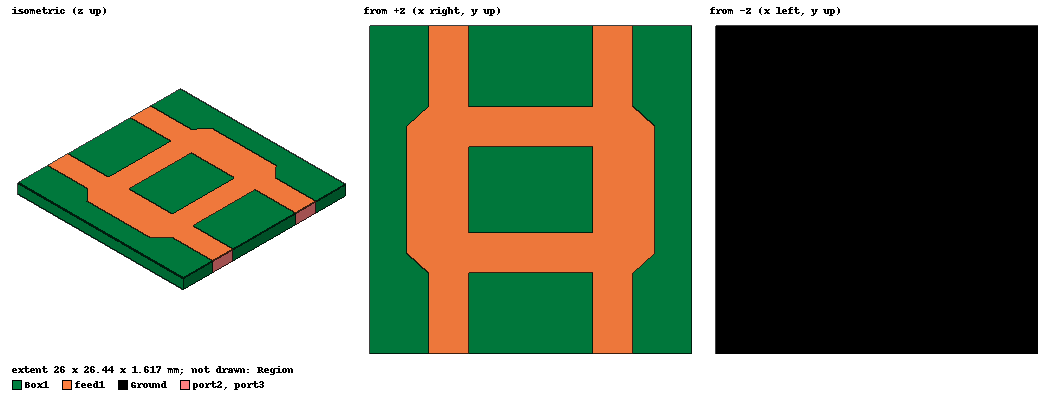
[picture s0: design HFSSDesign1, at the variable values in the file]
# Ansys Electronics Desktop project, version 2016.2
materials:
  copper: permeability=0.999991 conductivity=58000000
  FR4_epoxy: permittivity=4.4 dielectric_loss_tangent=0.02
  vacuum: permittivity=1
  air: permittivity=1.0006 permeability=1.0000004

design HFSSDesign1 (HFSS, DrivenModal, model units mm)
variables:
  W = 26mm
  L = 2*L_feed+L_sqrt+W_50
  H = 1.6mm
  L_50 = 10mm
  L_feed = 6.5mm
  W_50 = 3.24mm
  W_sqrt = 5.02mm
  L_sqrt = 10.2mm
  T = 0.017mm
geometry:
  Box1 [FR4_epoxy] = box(corner=(0mm, 0mm, 0mm), size=(W, L, H))
  port1 = rectangle(corner=(W/2-L_50/2-W_50, 0mm, H), z_size=-H, x_size=W_50)
  port4 = rectangle(corner=(W/2+L_50/2, 0mm, H), z_size=-H, x_size=W_50)
  port2 = rectangle(corner=(W/2-L_50/2-W_50, L, H), z_size=-H, x_size=W_50)
  port3 = rectangle(corner=(W/2+L_50/2, L, H), z_size=-H, x_size=W_50)
  feed1 [copper] = rectangle(corner=(W/2-L_50/2-W_50, 0mm, H), x_size=W_50, y_size=L_feed)
  feed4 = rectangle(corner=(W/2+L_50/2, 0mm, H), x_size=W_50, y_size=L_feed)
  branch14 = rectangle(corner=(W/2-L_50/2, L_feed, H), x_size=L_50, y_size=W_50)
  branch12 = rectangle(corner=(W/2-L_50/2-W_sqrt, L_feed+W_50/2, H), x_size=W_sqrt, y_size=L_sqrt)
  branch34 = rectangle(corner=(W/2+L_50/2, L_feed+W_50/2, H), x_size=W_sqrt, y_size=L_sqrt)
  branch23 = rectangle(corner=(W/2-L_50/2, L_feed+L_sqrt, H), x_size=L_50, y_size=W_50)
  feed2 = rectangle(corner=(W/2-L_50/2-W_50, L_feed+L_sqrt+W_50, H), x_size=W_50, y_size=L_feed)
  feed3 = rectangle(corner=(W/2+L_50/2, L_feed+L_sqrt+W_50, H), x_size=W_50, y_size=L_feed)
  Polyline1 = polyline(z=H, xy: (W/2-L_50/2-W_50, L_feed) (W/2-L_50/2-W_sqrt, L_feed+W_50/2) (W/2-L_50/2, L_feed+W_50/2) (W/2-L_50/2, L_feed) (W/2-L_50/2-W_50, L_feed), closed, covered)
  Polyline2 = polyline(z=H, xy: (W/2-L_50/2, L_feed+L_sqrt+W_50/2) (W/2-L_50/2, L_feed+L_sqrt+W_50) (W/2-L_50/2-W_50, L_feed+L_sqrt+W_50) (W/2-L_50/2-W_sqrt, L_feed+L_sqrt+W_50/2) (W/2-L_50/2, L_feed+L_sqrt+W_50/2), closed, covered)
  Polyline3 = polyline(z=H, xy: (W/2+L_50/2, L_feed) (W/2+L_50/2, L_feed+W_50/2) (W/2+L_50/2+W_sqrt, L_feed+W_50/2) (W/2+L_50/2+W_50, L_feed) (W/2+L_50/2, L_feed), closed, covered)
  Polyline4 = polyline(z=H, xy: (W/2+L_50/2, L_feed+L_sqrt+W_50/2) (W/2+L_50/2, L_feed+L_sqrt+W_50) (W/2+L_50/2+W_50, L_feed+L_sqrt+W_50) (W/2+L_50/2+W_sqrt, L_feed+L_sqrt+W_50/2) (W/2+L_50/2, L_feed+L_sqrt+W_50/2), closed, covered)
  feed1.unite(feed2, feed3, feed4, Polyline1..Polyline4, branch12, branch14, branch23, branch34)
  feed1.thicken(T)
  Ground [FR4_epoxy] = object_from(Box1.face(-z))
  Region [vacuum] = region(absolute_offset=20mm on all sides)
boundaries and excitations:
  PerfE2: Perfect E Objects=feed1
  GND: Perfect E Objects=Ground
  1: Lumped Port Objects=port1 Modes{Mode1{IntLine{middle of port1.edge(z opposite corner) -> middle of port1.edge(z at corner)} CharImp=Zpi RenormImp=50ohm}} FullResistance=50ohm FullReactance=0ohm
  4: Lumped Port Objects=port4 Modes{Mode1{IntLine{middle of port4.edge(z opposite corner) -> middle of port4.edge(z at corner)} CharImp=Zpi RenormImp=50ohm}} FullResistance=50ohm FullReactance=0ohm
  2: Lumped Port Objects=port2 Modes{Mode1{IntLine{middle of port2.edge(z opposite corner) -> middle of port2.edge(z at corner)} CharImp=Zpi RenormImp=50ohm}} FullResistance=50ohm FullReactance=0ohm
  3: Lumped Port Objects=port3 Modes{Mode1{IntLine{middle of port3.edge(z opposite corner) -> middle of port3.edge(z at corner)} CharImp=Zpi RenormImp=50ohm}} FullResistance=50ohm FullReactance=0ohm
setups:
  Setup1: HfssDriven Frequency=3.6GHz MaxDeltaS=0.02 MaximumPasses=12 MinimumPasses=1 MinimumConvergedPasses=1 PercentRefinement=30 BasisOrder=1 PortAccuracy=2
    sweep Sweep: 2GHz to 5GHz step 0.005GHz; Type=Fast SaveFields
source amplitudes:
  1:1: 1W 0deg
  4:1, 2:1, 3:1: 0W 0deg
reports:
  XY Plot 1: dB(S(1,1)), dB(S(2,1)), dB(S(3,1)), dB(S(4,1)) vs Freq on Setup1 : Sweep; markers MX1 at x=3.6998718e+09

design Circuit1 (Circuit)
options: SParamCircuitDef IntegrationMethod=FFT
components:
  A3 = MS_TRL(W=3.07179mm P=11.2684mm)
  A4 = MS_TRL(W=5.24218mm P=10.9712mm)
  A1 = MS_TRL(W=5.24218mm P=10.9712mm)
  A2 = MS_TRL(W=3.07179mm P=11.2684mm)
  A5 = MS_TRL(W=3.07179mm P=5mm)
  A6 = MS_TRL(W=3.07179mm P=5mm)
  A7 = MS_TRL(W=3.07179mm P=5mm)
  A8 = MS_TRL(W=3.07179mm P=5mm)
  port Port1 pnum=1 rz=50ohm iz=0ohm noisetemp=16.85 noisetemporig=16.85cel
  port Port2 pnum=2 rz=50ohm iz=0ohm noisetemp=16.85 noisetemporig=16.85cel
  port Port3 pnum=3 rz=50ohm iz=0ohm noisetemp=16.85 noisetemporig=16.85cel
  port Port4 pnum=4 rz=50ohm iz=0ohm noisetemp=16.85 noisetemporig=16.85cel
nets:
  net_1: A4.0, A3.1, A5.0
  net_2: A7.0, A1.0, A3.0
  net_3: A4.1, A6.1, A2.1
  net_4: A8.1, A1.1, A2.0
  Port1: A5.1
  Port2: A6.0
  Port3: A8.0
  Port4: A7.1
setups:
  LinearFrequency: LinearFrequencyData(false, 0.1, false, "", false) SweepDefinition{Variable=F Data="LIN 1GHz 5GHz 0.005GHz"}
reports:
  XY Plot 1: dB(S(Port1,Port1)), dB(S(Port2,Port1)), dB(S(Port3,Port1)), dB(S(Port4,Port1)) vs F on LinearFrequency : LinearFrequency; markers MX1 at x=3.6706587e+09

design Circuit2 (Circuit)
options: SParamCircuitDef IntegrationMethod=FFT
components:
  A20 = NXMSCOUPB(W1=5.012mm W2=3.07179mm W3=3.07179mm W5=3.07179mm W4=5.012mm L1=10.9712mm L2="(11.2684/2) mm" L3="(11.2684/2) mm")
  port Port1 pnum=1 rz=50ohm iz=0ohm noisetemp=16.85 noisetemporig=16.85cel
  port Port2 pnum=2 rz=50ohm iz=0ohm noisetemp=16.85 noisetemporig=16.85cel
  port Port3 pnum=3 rz=50ohm iz=0ohm noisetemp=16.85 noisetemporig=16.85cel
  port Port4 pnum=4 rz=50ohm iz=0ohm noisetemp=16.85 noisetemporig=16.85cel
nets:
  Port1: A20.0
  Port2: A20.1
  Port3: A20.2
  Port4: A20.3
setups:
  LinearFrequency: LinearFrequencyData(false, 0.1, false, "", false) SweepDefinition{Variable=F Data="LIN 1 5GHz 0.001GHz"}
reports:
  XY Plot 1: dB(S(Port1,Port1)), dB(S(Port2,Port1)), dB(S(Port3,Port1)), dB(S(Port4,Port1)) vs F on LinearFrequency : LinearFrequency
